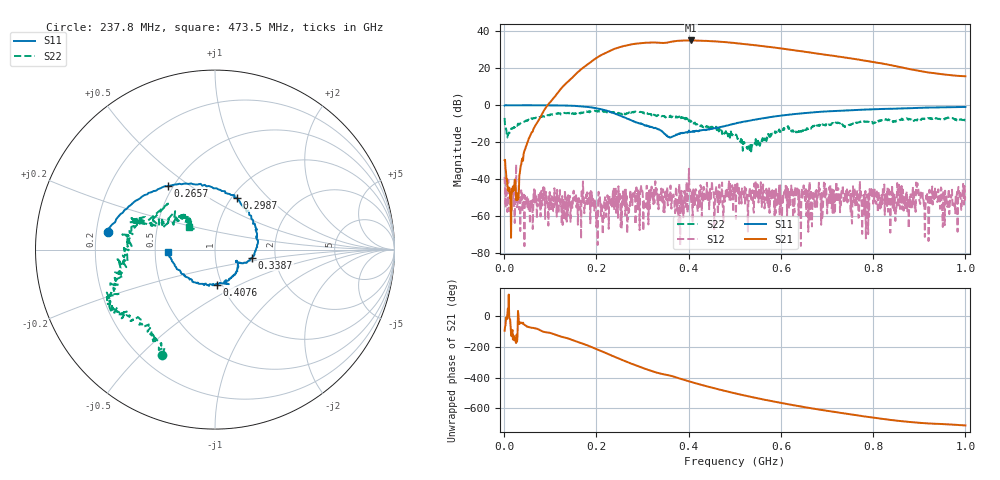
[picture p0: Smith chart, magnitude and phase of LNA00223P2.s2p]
! Created with skrf 1.9.0 (http://scikit-rf.org).
# Hz S RI R 50.0
!freq ReS11 ImS11 ReS21 ImS21 ReS12 ImS12 ReS22 ImS22
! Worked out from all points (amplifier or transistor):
!   1001 points, 1 MHz to 1 GHz, reference 50 ohm
!   highest |S21| = 35.0 dB at 404.6 MHz (marker M1)
!   |S21| within 3 dB of that: 260 MHz to 558.2 MHz (298.2 MHz wide, 72.9 % of centre)
!   unconditionally stable (mu >= 1): start of sweep to 86.39 MHz; 328.1 MHz to 395.5 MHz; 401 MHz to end of sweep (the widest 3 of 24)
!   at 166.8 MHz: K = 16.14, MAG = 30.7 dB, |S12| = -72.2 dB
!   at 500.5 MHz: K = 1.50, MAG = 34.1 dB, |S12| = -43.0 dB
!   at 1 GHz: K = 3.48, MAG = 23.4 dB, |S12| = -47.9 dB
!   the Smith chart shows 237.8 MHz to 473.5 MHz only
!   S11 on the Smith chart (normalised r, x): 237.8 MHz: 0.25, +0.08; 265.7 MHz: 0.47, +0.41; 298.7 MHz: 1.06, +0.68; 338.7 MHz: 1.51, -0.14; 407.6 MHz: 0.95, -0.38; 473.5 MHz: 0.58, -0.01
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1000000  0.9786 0.00798  -0.00267 -0.0326  -0.011 0.00333  0.3116 0.3281
1.08892e8  0.5141 -0.8492  -0.7732 -1.469  -0.00342 0.00457  0.4388 -0.3706
1.67833e8  -0.2439 -0.8931  -9.51 -0.6657  -0.00467 -7.19e-05  0.0542 -0.6256
2.07793e8  -0.678 -0.4034  -15.7 14.83  0.00179 0.00273  -0.1752 -0.6652
2.37763e8  -0.5985 0.0971  -4.392 32.45  -0.00148 -0.00532  -0.2934 -0.5879
2.65735e8  -0.2606 0.3526  18.87 36.46  0.000924 -0.00339  -0.471 -0.3976
2.98702e8  0.1218 0.2885  43.12 19.96  -0.00168 0.00521  -0.5943 -0.2658
3.17683e8  0.2237 0.1343  48.88 4.07  -0.00269 0.00235  -0.5409 -0.1686
3.34666e8  0.2194 -0.0221  47.84 -9.686  0.00116 0.00101  -0.5173 -0.0805
3.38662e8  0.2071 -0.0446  46.71 -12.19  -0.00296 0.00151  -0.4896 -0.0255
3.71629e8  0.1265 -0.0884  42.58 -33.34  0.0032 0.000501  -0.4361 0.1575
4.04596e8  0.0297 -0.1865  20.55 -52.16  -0.000793 0.00326  -0.3454 0.1632
4.07593e8  0.0123 -0.1948  18.27 -52.76  -0.000331 0.00475  -0.3125 0.1697
4.39561e8  -0.1543 -0.1541  -6.951 -53.91  0.00721 0.00352  -0.2077 0.174
4.73527e8  -0.2636 -0.0111  -28.43 -42.61  0.00195 -0.000625  -0.146 0.1277
5.005e8  -0.2817 0.1441  -38.25 -28.78  0.00475 -0.00528  -0.1451 0.0698
5.4046e8  -0.1985 0.3487  -41.32 -7.611  -7.62e-05 0.00145  -0.0828 -0.00588
5.88412e8  0.0188 0.4981  -33.71 11.73  -0.00109 -0.000493  -0.1594 -0.0724
6.67333e8  0.4013 0.4907  -12.33 22.76  -0.000531 -1.32e-05  -0.2587 -0.0202
7.53247e8  0.6745 0.2815  3.613 17.85  -0.000868 -0.000203  -0.3025 0.0594
8.34166e8  0.7969 0.0201  8.8 8.668  -0.00321 0.00422  -0.3981 0.0813
1e9  0.7278 -0.5229  5.991 0.7564  -0.00394 0.000728  -0.1813 0.3479
